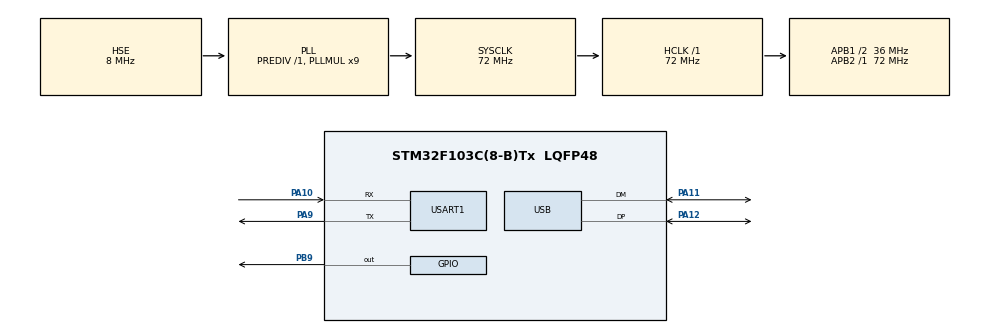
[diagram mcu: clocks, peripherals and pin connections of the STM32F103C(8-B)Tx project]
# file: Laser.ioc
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Mcu.Family=STM32F1
Mcu.Name=STM32F103C(8-B)Tx
Mcu.Package=LQFP48
NVIC.PriorityGroup=NVIC_PRIORITYGROUP_4
NVIC.TIM2_IRQn=true\:0\:0\:false\:false\:true\:true\:true
NVIC.USART1_IRQn=true\:0\:0\:false\:false\:true\:true\:true
PA10.GPIO_Mode=GPIO_MODE_INPUT
PA10.Mode=Asynchronous
PA10.Signal=USART1_RX
PA11.Mode=Device
PA11.Signal=USB_DM
PA12.Mode=Device
PA12.Signal=USB_DP
PA9.GPIO_Mode=GPIO_MODE_AF_PP
PA9.Mode=Asynchronous
PA9.Signal=USART1_TX
PB9.Signal=GPIO_Output
PD0-OSC_IN.Mode=HSE-External-Oscillator
PD0-OSC_IN.Signal=RCC_OSC_IN
PD1-OSC_OUT.Mode=HSE-External-Oscillator
PD1-OSC_OUT.Signal=RCC_OSC_OUT
ProjectManager.HeapSize=0x200
ProjectManager.StackSize=0x400
ProjectManager.TargetToolchain=MDK-ARM V5.27
RCC.AHBFreq_Value=72000000
RCC.APB1CLKDivider=RCC_HCLK_DIV2
RCC.APB1Freq_Value=36000000
RCC.APB1TimFreq_Value=72000000
RCC.APB2Freq_Value=72000000
RCC.APB2TimFreq_Value=72000000
RCC.HCLKFreq_Value=72000000
RCC.PLLMUL=RCC_PLL_MUL9
RCC.PLLSourceVirtual=RCC_PLLSOURCE_HSE
RCC.SYSCLKFreq_VALUE=72000000
RCC.SYSCLKSource=RCC_SYSCLKSOURCE_PLLCLK
RCC.USBFreq_Value=48000000
RCC.USBPrescaler=RCC_USBCLKSOURCE_PLL_DIV1_5
TIM2.AutoReloadPreload=TIM_AUTORELOAD_PRELOAD_ENABLE
TIM2.Period=499
TIM2.Prescaler=7199
USART1.VirtualMode=VM_ASYNC
VP_SYS_VS_ND.Mode=No_Debug
VP_TIM2_VS_ClockSourceINT.Mode=Internal
board=custom

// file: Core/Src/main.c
/* USER CODE BEGIN Header */
/**
  ******************************************************************************
  * @file           : main.c
  * @brief          : Main program body
  ******************************************************************************
  * @attention
  *
  * <h2><center>&copy; Copyright (c) 2025 STMicroelectronics.
  * All rights reserved.</center></h2>
  *
  * This software component is licensed by ST under BSD 3-Clause license,
  * the "License"; You may not use this file except in compliance with the
  * License. You may obtain a copy of the License at:
  *                        opensource.org/licenses/BSD-3-Clause
  *
  ******************************************************************************
  */
/* USER CODE END Header */
#include "main.h"
#include "tim.h"
#include "usart.h"
#include "usb.h"
#include "gpio.h"
#include <stdio.h>

/* USER CODE BEGIN PV */
uint8_t RxBuffer[1];
uint8_t command_ready = 0;  // ??????
uint8_t pulse_enabled = 0;
/* USER CODE END PV */

void SystemClock_Config(void);

/* USER CODE BEGIN 0 */
uint8_t filter_char(uint8_t c)
{

  if (c == '\r' || c == '\n' || c == ' ')
    return 0;
  return c;
}
/* USER CODE END 0 */

int main(void)
{

  /* MCU Configuration--------------------------------------------------------*/

  /* Reset of all peripherals, Initializes the Flash interface and the Systick. */
  HAL_Init();

  /* Configure the system clock */
  SystemClock_Config();

  /* Initialize all configured peripherals */
  MX_GPIO_Init();
  MX_USART1_UART_Init();
  MX_USB_PCD_Init();
  MX_TIM2_Init();
  /* USER CODE BEGIN 2 */
  HAL_UART_Receive_IT(&huart1,(uint8_t *)&RxBuffer,1);
  HAL_TIM_Base_Start_IT(&htim2);
	HAL_GPIO_WritePin(GPIOB, GPIO_PIN_9, GPIO_PIN_RESET);  // ????
  /* USER CODE END 2 */

  /* Infinite loop */
  while (1)
  {

    /* USER CODE BEGIN 3 */
		  if (command_ready == 1)
    {
      command_ready = 0;  // ????
      uint8_t cmd = filter_char(RxBuffer[0]);
      // ??if-else if-else??,?????????
      if (cmd == 'Y')
      {
        pulse_enabled = 1;  // ????
        printf("The LED is ON !\r\n");
      }
      else if (cmd == 'N')  // ??????else if
      {
        pulse_enabled = 0;
				HAL_GPIO_WritePin(GPIOB, GPIO_PIN_9, GPIO_PIN_RESET);
        printf("The LED is OFF !\r\n");
      }
      // ??????,??????
      HAL_UART_Receive_IT(&huart1, RxBuffer, 1);
    }

  }
  /* USER CODE END 3 */
}

void SystemClock_Config(void)
{
  RCC_OscInitTypeDef RCC_OscInitStruct = {0};
  RCC_ClkInitTypeDef RCC_ClkInitStruct = {0};
  RCC_PeriphCLKInitTypeDef PeriphClkInit = {0};

  /** Initializes the RCC Oscillators according to the specified parameters
  * in the RCC_OscInitTypeDef structure.
  */
  RCC_OscInitStruct.OscillatorType = RCC_OSCILLATORTYPE_HSE;
  RCC_OscInitStruct.HSEState = RCC_HSE_ON;
  RCC_OscInitStruct.HSEPredivValue = RCC_HSE_PREDIV_DIV1;
  RCC_OscInitStruct.HSIState = RCC_HSI_ON;
  RCC_OscInitStruct.PLL.PLLState = RCC_PLL_ON;
  RCC_OscInitStruct.PLL.PLLSource = RCC_PLLSOURCE_HSE;
  RCC_OscInitStruct.PLL.PLLMUL = RCC_PLL_MUL9;
  if (HAL_RCC_OscConfig(&RCC_OscInitStruct) != HAL_OK)
  {
    Error_Handler();
  }
  /** Initializes the CPU, AHB and APB buses clocks
  */
  RCC_ClkInitStruct.ClockType = RCC_CLOCKTYPE_HCLK|RCC_CLOCKTYPE_SYSCLK
                              |RCC_CLOCKTYPE_PCLK1|RCC_CLOCKTYPE_PCLK2;
  RCC_ClkInitStruct.SYSCLKSource = RCC_SYSCLKSOURCE_PLLCLK;
  RCC_ClkInitStruct.AHBCLKDivider = RCC_SYSCLK_DIV1;
  RCC_ClkInitStruct.APB1CLKDivider = RCC_HCLK_DIV2;
  RCC_ClkInitStruct.APB2CLKDivider = RCC_HCLK_DIV1;

  if (HAL_RCC_ClockConfig(&RCC_ClkInitStruct, FLASH_LATENCY_2) != HAL_OK)
  {
    Error_Handler();
  }
  PeriphClkInit.PeriphClockSelection = RCC_PERIPHCLK_USB;
  PeriphClkInit.UsbClockSelection = RCC_USBCLKSOURCE_PLL_DIV1_5;
  if (HAL_RCCEx_PeriphCLKConfig(&PeriphClkInit) != HAL_OK)
  {
    Error_Handler();
  }
}

/* USER CODE BEGIN 4 */
void HAL_TIM_PeriodElapsedCallback(TIM_HandleTypeDef *htim)
{
  if (htim->Instance == TIM2)  // ???TIM2??
  {
    if (pulse_enabled == 1)  // ?????????
    {
      HAL_GPIO_TogglePin(GPIOB, GPIO_PIN_9);  // ??????(????)
    }
  }
}

void HAL_UART_RxCpltCallback(UART_HandleTypeDef *huart)
{
  if (huart->Instance == USART1)
  {
    command_ready = 1;  // ????????

  }
}
/* USER CODE END 4 */

void Error_Handler(void)
{
  __disable_irq();
  while (1)
  {
  }
}

/************************ (C) COPYRIGHT STMicroelectronics *****END OF FILE****/
